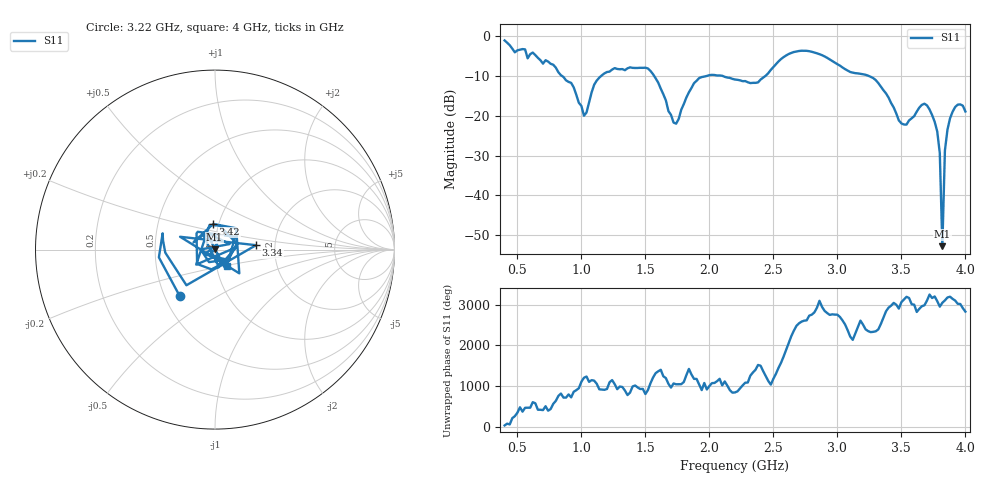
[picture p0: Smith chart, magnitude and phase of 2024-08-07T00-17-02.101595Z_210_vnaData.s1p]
!Created with skrf (http://scikit-rf.org).
# Hz S RI R 50.0
!freq ReS11 ImS11
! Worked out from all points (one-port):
!   181 points, 400 MHz to 4 GHz, reference 50 ohm
!   lowest |S11| = -52.7 dB at 3.82 GHz (marker M1), VSWR 1.00, Z = 49.8 + j0.0604 ohm
!   |S11| at or under -10 dB: 1.567 GHz to 1.988 GHz (421 MHz wide, 23.7 % of centre); 2.091 GHz to 2.441 GHz (350 MHz wide, 15.4 % of centre); 3.239 GHz to end of sweep (the widest 3 of 4)
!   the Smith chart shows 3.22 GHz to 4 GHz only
!   S11 on the Smith chart (normalised r, x): 3.22 GHz: 0.60, -0.34; 3.34 GHz: 1.59, +0.08; 3.42 GHz: 0.94, +0.27; 4 GHz: 1.12, -0.21
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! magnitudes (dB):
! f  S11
! 400 MHz  -1.2
! 860 MHz  -10.3
! 940 MHz  -12.9
! 1.02 GHz  -20.0
! 1.12 GHz  -11.2
! 1.3 GHz  -8.4
! 1.52 GHz  -8.2
! 1.6 GHz  -11.7
! 1.72 GHz  -21.8
! 1.76 GHz  -20.9
! 1.92 GHz  -10.6
! 2.2 GHz  -11.0
! 2.38 GHz  -11.7
! 2.66 GHz  -4.1
! 3.1 GHz  -9.1
! 3.22 GHz  -9.8
! 3.34 GHz  -12.8
! 3.42 GHz  -16.9
! 3.5 GHz  -22.0
! 3.56 GHz  -21.2
! 3.68 GHz  -17.0
! 3.78 GHz  -24.0
! 3.8 GHz  -29.4
! 3.82 GHz  -52.7
! 3.84 GHz  -28.7
! 3.86 GHz  -23.5
! 3.92 GHz  -17.9
! 4 GHz  -19.0
